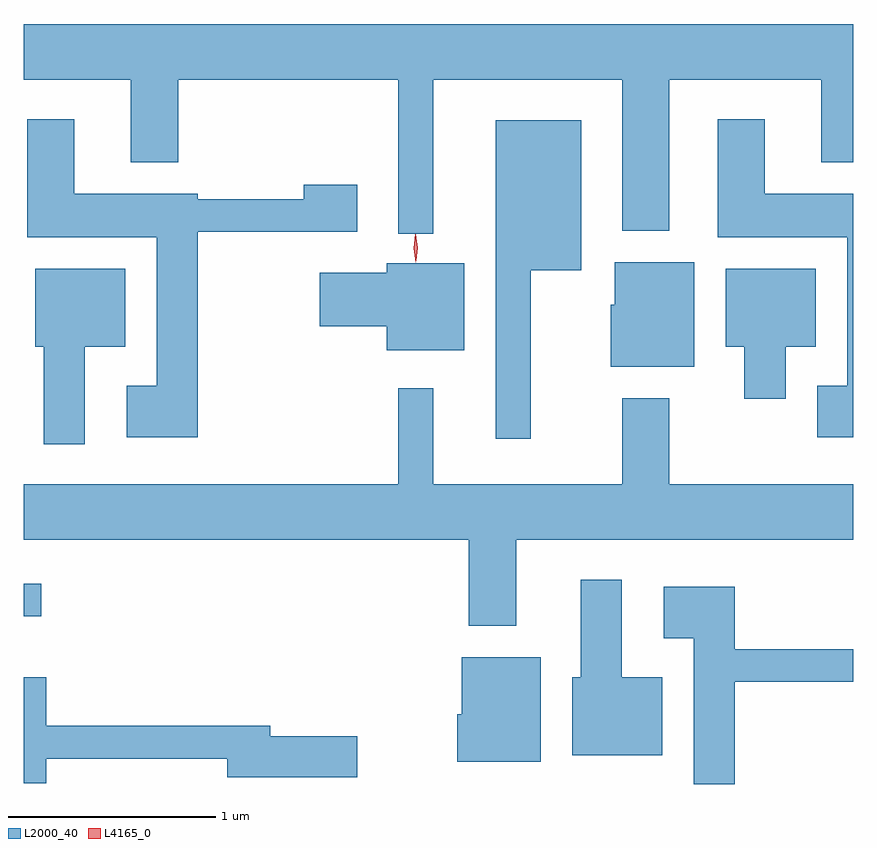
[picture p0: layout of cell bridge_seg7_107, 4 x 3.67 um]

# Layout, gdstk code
import gdstk
lib = gdstk.Library(unit=1e-6, precision=1e-09)
def R(c, l, rs):  # rectangles x0, y0, x1, y1
    for r in rs: c.add(gdstk.rectangle(r[:2], r[2:], *l))
def P(c, l, *ps):  # polygons
    for p in ps: c.add(gdstk.Polygon(p, *l))
L2000_40 = (2000, 40)
L4165_0 = (4165, 0)

bridge_seg7_107 = lib.new_cell('bridge_seg7_107')
R(bridge_seg7_107, L2000_40, [(1658.765,1742.806,1658.848,1742.964)])
P(bridge_seg7_107, L2000_40, [(1660.739,1745.396),(1661.651,1745.396),(1661.651,1744.666),(1661.879,1744.666),(1661.879,1745.396),(1662.611,1745.396),(1662.611,1744.996),(1662.765,1744.996),(1662.765,1745.664),(1658.765,1745.664),(1658.765,1745.396),(1659.281,1745.396),(1659.281,1744.996),(1659.509,1744.996),(1659.509,1745.396),(1660.571,1745.396),(1660.571,1744.653),(1660.739,1744.653)],
  [(1659.604,1744.661),(1660.374,1744.661),(1660.374,1744.889),(1660.116,1744.889),(1660.116,1744.819),(1659.604,1744.819),(1659.604,1744.844),(1659.009,1744.844),(1659.009,1745.204),(1658.781,1745.204),(1658.781,1744.636),(1659.406,1744.636),(1659.406,1743.919),(1659.261,1743.919),(1659.261,1743.671),(1659.604,1743.671)],
  [(1662.765,1744.844),(1662.339,1744.844),(1662.339,1745.204),(1662.111,1745.204),(1662.111,1744.636),(1662.736,1744.636),(1662.736,1743.919),(1662.591,1743.919),(1662.591,1743.671),(1662.765,1743.671)],
  [(1661.209,1744.476),(1661.454,1744.476),(1661.454,1745.199),(1661.041,1745.199),(1661.041,1743.663),(1661.209,1743.663)],
  [(1661.999,1744.514),(1661.616,1744.514),(1661.616,1744.309),(1661.596,1744.309),(1661.596,1744.011),(1661.999,1744.011)],
  [(1660.889,1744.509),(1660.516,1744.509),(1660.516,1744.464),(1660.191,1744.464),(1660.191,1744.206),(1660.516,1744.206),(1660.516,1744.091),(1660.889,1744.091)],
  [(1659.059,1744.106),(1659.254,1744.106),(1659.254,1744.484),(1658.821,1744.484),(1658.821,1744.106),(1658.861,1744.106),(1658.861,1743.636),(1659.059,1743.636)],
  [(1662.439,1744.106),(1662.584,1744.106),(1662.584,1744.484),(1662.151,1744.484),(1662.151,1744.106),(1662.241,1744.106),(1662.241,1743.856),(1662.439,1743.856)],
  [(1661.139,1743.176),(1662.765,1743.176),(1662.765,1743.444),(1661.879,1743.444),(1661.879,1743.859),(1661.651,1743.859),(1661.651,1743.444),(1660.739,1743.444),(1660.739,1743.908),(1660.571,1743.908),(1660.571,1743.444),(1658.765,1743.444),(1658.765,1743.176),(1660.911,1743.176),(1660.911,1742.761),(1661.139,1742.761)],
  [(1661.844,1742.514),(1661.649,1742.514),(1661.649,1742.984),(1661.451,1742.984),(1661.451,1742.514),(1661.411,1742.514),(1661.411,1742.136),(1661.844,1742.136)],
  [(1662.194,1742.491),(1662.765,1742.491),(1662.765,1742.649),(1662.194,1742.649),(1662.194,1742.949),(1661.851,1742.949),(1661.851,1742.701),(1661.996,1742.701),(1661.996,1741.998),(1662.194,1741.998)],
  [(1661.259,1742.609),(1660.876,1742.609),(1660.876,1742.334),(1660.856,1742.334),(1660.856,1742.106),(1661.259,1742.106)],
  [(1658.874,1742.121),(1659.746,1742.121),(1659.746,1742.031),(1660.374,1742.031),(1660.374,1742.229),(1659.954,1742.229),(1659.954,1742.279),(1658.874,1742.279),(1658.874,1742.514),(1658.765,1742.514),(1658.765,1742.001),(1658.874,1742.001)])
P(bridge_seg7_107, L4165_0, [(1660.656,1744.521),(1660.646,1744.584),(1660.655,1744.647),(1660.655,1744.647),(1660.656,1744.647),(1660.666,1744.584),(1660.657,1744.521),(1660.657,1744.521)],
  [(1660.656,1744.514),(1660.656,1744.514),(1660.646,1744.582),(1660.654,1744.65),(1660.655,1744.65),(1660.656,1744.65),(1660.665,1744.582),(1660.656,1744.514)])

lib.write_gds('bridge_seg7_107.gds')
